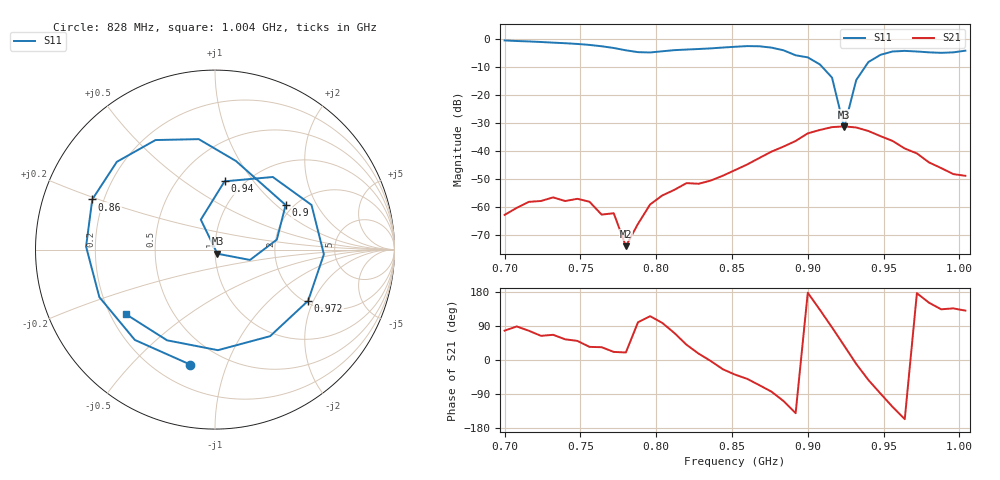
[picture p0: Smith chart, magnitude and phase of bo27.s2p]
# Hz S RI R 50
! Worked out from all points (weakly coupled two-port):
!   39 points, 700 MHz to 1.004 GHz, reference 50 ohm
!   highest |S21| = -31.20 dB at 924 MHz (marker M1); lowest = -73.8 dB at 780 MHz (marker M2)
!   lowest |S11| = -31.5 dB at 924 MHz (marker M3), VSWR 1.05, Z = 51.3 - j2.36 ohm
!   |S11| at or under -10 dB: 909.5 MHz to 937.9 MHz (28.43 MHz wide, 3.08 % of centre)
!   S12 and S22 are empty: the file has one direction only
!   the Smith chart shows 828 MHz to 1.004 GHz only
!   S11 on the Smith chart (normalised r, x): 828 MHz: 0.33, -0.75; 860 MHz: 0.16, +0.19; 900 MHz: 1.82, +1.16; 940 MHz: 0.82, +0.73; 972 MHz: 2.08, -1.82; 1.004 GHz: 0.26, -0.30
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7e8  0.7669 0.5274  0.000159 0.000716  0 0  0 0
7.24e8  0.8321 -0.2665  0.000573 0.00116  0 0  0 0
7.56e8  -0.2011 -0.749  0.00103 0.000714  0 0  0 0
7.72e8  -0.6595 -0.1795  0.000731 0.000286  0 0  0 0
7.8e8  -0.5727 0.2419  0.000191 6.9e-05  0 0  0 0
7.88e8  -0.2109 0.5367  -8.39e-05 0.000501  0 0  0 0
8.04e8  0.5828 0.1312  -0.000226 0.00161  0 0  0 0
8.2e8  0.2399 -0.5946  0.00206 0.00174  0 0  0 0
8.28e8  -0.1367 -0.6412  0.00251 0.00076  0 0  0 0
8.52e8  -0.7184 0.0171  0.00359 -0.00286  0 0  0 0
8.6e8  -0.6836 0.2797  0.00374 -0.0044  0 0  0 0
8.84e8  -0.0906 0.6155  -0.00377 -0.0114  0 0  0 0
9e8  0.3936 0.2484  -0.0207 0.000879  0 0  0 0
9.08e8  0.3444 0.0555  -0.0161 0.0176  0 0  0 0
9.16e8  0.1951 -0.0576  0.00186 0.0267  0 0  0 0
9.24e8  0.0133 -0.023  0.0217 0.0169  0 0  0 0
9.32e8  -0.0791 0.1666  0.0259 -0.00475  0 0  0 0
9.4e8  0.0532 0.3803  0.0138 -0.0181  0 0  0 0
9.56e8  0.5376 0.2489  -0.00845 -0.0126  0 0  0 0
9.72e8  0.519 -0.2849  -0.00908 0.000587  0 0  0 0
9.88e8  0.0162 -0.5605  -0.00346 0.0036  0 0  0 0
1.004e9  -0.4951 -0.3607  -0.00235 0.00277  0 0  0 0
